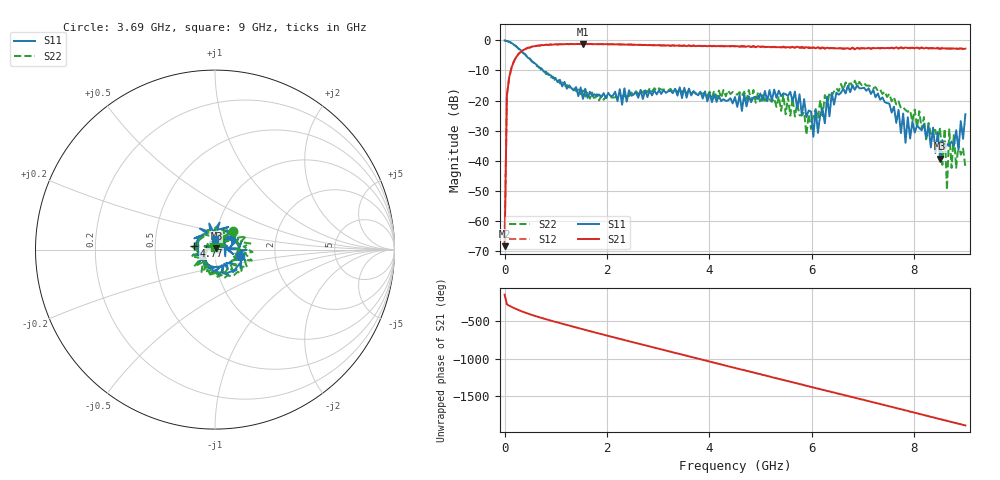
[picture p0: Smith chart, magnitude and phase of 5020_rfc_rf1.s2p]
!Agilent Technologies,E8358A,US40210021,A.06.04.30
!Agilent E8358A: A.06.04.30
!Date: Saturday, April 21, 2018 14:29:08
!Correction: S11(Full 2 Port(1,2)) S21(Full 2 Port(1,2)) S12(Full 2 Port(1,2)) S22(Full 2 Port(1,2))
!S2P File: Measurements: S11, S21, S12, S22:
# Hz S  RI  R 50
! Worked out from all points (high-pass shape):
!   201 points, 300 kHz to 9 GHz, reference 50 ohm
!   highest |S21| = -1.15 dB at 1.53 GHz (marker M1); lowest = -68.5 dB at 300 kHz (marker M2)
!   |S21| within 3 dB of the highest: 296.1 MHz to end of sweep
!   lowest |S11| = -39.3 dB at 8.505 GHz (marker M3), VSWR 1.02, Z = 50.8 + j0.726 ohm
!   |S11| at or under -10 dB: 750.5 MHz to end of sweep
!   |S22| runs from -49.8 to 0.0 dB; largest |S21 - S12| = 0.048
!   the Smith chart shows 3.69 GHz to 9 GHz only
!   S11 on the Smith chart (normalised r, x): 3.69 GHz: 1.32, -0.09; 4.77 GHz: 0.79, +0.03; 9 GHz: 1.00, +0.12
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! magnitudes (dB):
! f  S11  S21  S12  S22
! 300 kHz  0.0  -68.5  -66.1  0.0
! 45.3 MHz  -0.2  -18.2  -18.2  -0.2
! 180.3 MHz  -1.4  -7.0  -7.0  -1.4
! 1.53 GHz  -19.4  -1.1  -1.2  -16.6
! 3.015 GHz  -16.5  -1.6  -1.6  -15.9
! 3.69 GHz  -16.9  -1.7  -1.7  -17.0
! 4.5 GHz  -18.9  -1.9  -2.0  -17.8
! 4.77 GHz  -18.6  -1.9  -2.0  -16.5
! 5.76 GHz  -17.9  -2.4  -2.3  -24.9
! 6.03 GHz  -32.1  -2.4  -2.3  -24.8
! 6.075 GHz  -22.9  -2.6  -2.5  -23.1
! 6.705 GHz  -15.1  -2.6  -2.5  -15.9
! 7.515 GHz  -21.0  -2.6  -2.5  -17.8
! 8.505 GHz  -39.3  -2.7  -2.9  -29.0
! 8.55 GHz  -33.2  -2.6  -2.4  -41.4
! 8.595 GHz  -36.4  -2.7  -2.8  -29.4
! 8.64 GHz  -34.5  -2.7  -2.6  -49.8
! 8.685 GHz  -34.9  -2.6  -2.8  -29.6
! 8.73 GHz  -33.6  -2.7  -2.7  -42.4
! 8.775 GHz  -35.2  -2.7  -2.7  -31.2
! 8.82 GHz  -29.9  -2.7  -2.7  -42.4
! 9 GHz  -24.5  -2.7  -2.8  -42.3
